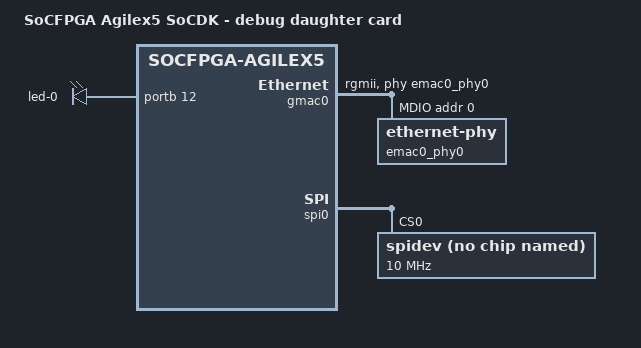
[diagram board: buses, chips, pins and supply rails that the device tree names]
// SPDX-License-Identifier:     GPL-2.0
/*
 * Copyright (C) 2026, Altera Corporation
 */
#include "socfpga_agilex5_socdk.dts"

/ {
	model = "SoCFPGA Agilex5 SoCDK - debug daughter card";
	compatible = "intel,socfpga-agilex5-socdk-debug", "intel,socfpga-agilex5";

	leds {
		led-0 {
			gpios = <&portb 12 GPIO_ACTIVE_HIGH>;
		};
	};
};

&gmac0 {
	status = "okay";
	phy-mode = "rgmii"; /* TX/RX clock delays provided by Agilex5 I/O hardware */
	phy-handle = <&emac0_phy0>;

	max-frame-size = <9000>;

	mdio0 {
		#address-cells = <1>;
		#size-cells = <0>;
		compatible = "snps,dwmac-mdio";
		emac0_phy0: ethernet-phy@0 {
			reg = <0>;
		};
	};
};

&gmac2 {
	status = "disabled";
};

&gpio0 {
	status = "disabled";
};

&spi0 {
	status = "okay";
	spidev@0 {
		compatible = "rohm,dh2228fv";
		reg = <0>;
		spi-max-frequency = <10000000>;
	};
};
